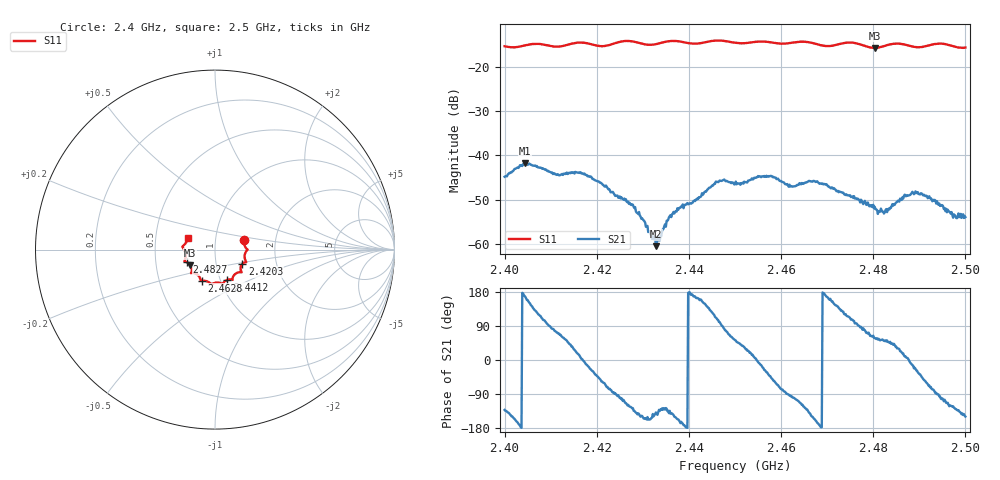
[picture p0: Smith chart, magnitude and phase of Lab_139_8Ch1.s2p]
# Hz S RI R 50
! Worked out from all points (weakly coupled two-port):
!   601 points, 2.4 GHz to 2.5 GHz, reference 50 ohm
!   highest |S21| = -41.81 dB at 2.4045 GHz (marker M1); lowest = -60.5 dB at 2.4328 GHz (marker M2)
!   lowest |S11| = -15.8 dB at 2.4803 GHz (marker M3), VSWR 1.39, Z = 37.4 - j6.76 ohm
!   |S11| at or under -10 dB: start of sweep to end of sweep
!   S12 and S22 are empty: the file has one direction only
!   S11 on the Smith chart (normalised r, x): 2.4 GHz: 1.38, +0.15; 2.4203 GHz: 1.34, -0.22; 2.4412 GHz: 1.08, -0.38; 2.4628 GHz: 0.82, -0.29; 2.4827 GHz: 0.72, -0.10; 2.5 GHz: 0.73, +0.10
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2.4e9  0.1617 0.0527  -0.00383 -0.00429  0 0  0 0
2.4045e9  0.1742 0.00617  -0.0079 0.00187  0 0  0 0
2.4115e9  0.1653 -0.0312  0.0019 0.00585  0 0  0 0
2.416667e9  0.1741 -0.069  0.00626 0.000321  0 0  0 0
2.420333e9  0.1523 -0.0794  0.00358 -0.00364  0 0  0 0
2.427833e9  0.1455 -0.1259  -0.00168 -0.00223  0 0  0 0
2.432833e9  0.1023 -0.1478  -0.00071 -0.00063  0 0  0 0
2.433333e9  0.1002 -0.152  -0.000907 -0.000807  0 0  0 0
2.436167e9  0.0983 -0.1683  -0.00157 -0.00126  0 0  0 0
2.441167e9  0.0683 -0.1686  -0.00303 0.000643  0 0  0 0
2.446333e9  0.0422 -0.1932  -0.00136 0.00481  0 0  0 0
2.45e9  0.0244 -0.1847  0.00288 0.00376  0 0  0 0
2.457333e9  -0.0257 -0.1879  0.00451 -0.00373  0 0  0 0
2.462833e9  -0.0719 -0.1738  -0.000783 -0.00442  0 0  0 0
2.466667e9  -0.0809 -0.1675  -0.00434 -0.00262  0 0  0 0
2.480333e9  -0.1372 -0.0879  0.0014 0.00223  0 0  0 0
2.482667e9  -0.1579 -0.0705  0.0015 0.00191  0 0  0 0
2.483333e9  -0.1632 -0.0683  0.00172 0.00184  0 0  0 0
2.489167e9  -0.1633 -0.033  0.00362 -0.00154  0 0  0 0
2.492e9  -0.1731 0.00226  0.0013 -0.00314  0 0  0 0
2.497667e9  -0.1648 0.0337  -0.00125 -0.00166  0 0  0 0
2.5e9  -0.1511 0.0646  -0.00173 -0.00103  0 0  0 0
